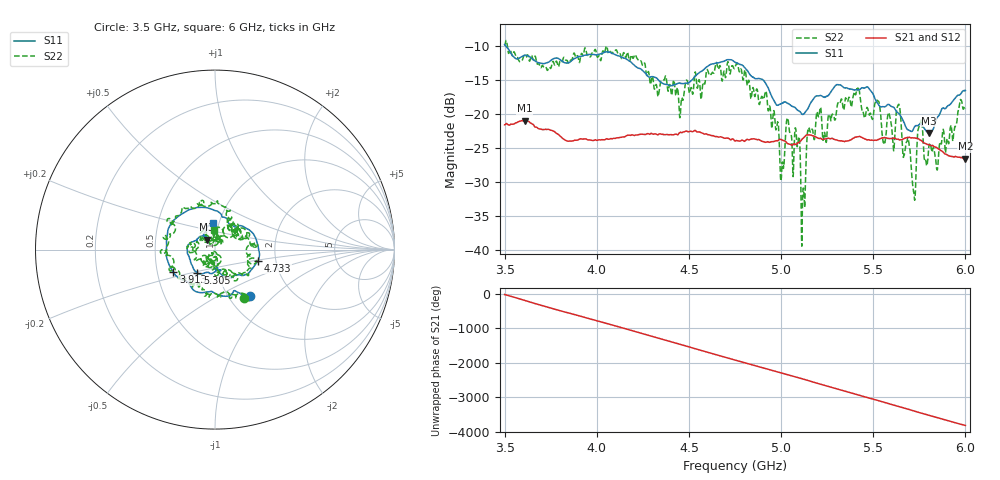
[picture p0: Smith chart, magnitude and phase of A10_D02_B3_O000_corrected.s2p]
! Created with skrf 1.9.0 (http://scikit-rf.org).
# Hz S RI R 50.0
!freq ReS11 ImS11 ReS21 ImS21 ReS12 ImS12 ReS22 ImS22
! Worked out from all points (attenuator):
!   1601 points, 3.5 GHz to 6 GHz, reference 50 ohm
!   highest |S21| = -21.01 dB at 3.609 GHz (marker M1); lowest = -26.6 dB at 6 GHz (marker M2)
!   lowest |S11| = -22.9 dB at 5.802 GHz (marker M3), VSWR 1.16, Z = 45.4 + j5.07 ohm
!   |S11| at or under -10 dB: 3.506 GHz to end of sweep
!   |S22| runs from -39.5 to -9.2 dB; largest |S21 - S12| = 0.00098
!   S11 on the Smith chart (normalised r, x): 3.5 GHz: 1.26, -0.72; 3.913 GHz: 0.61, -0.16; 4.733 GHz: 1.62, -0.21; 5.305 GHz: 0.80, -0.22; 6 GHz: 0.94, +0.28
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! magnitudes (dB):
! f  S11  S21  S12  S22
! 3.5 GHz  -9.8  -21.6  -21.6  -10.0
! 3.609 GHz  -11.4  -21.0  -21.0  -11.6
! 3.913 GHz  -11.6  -23.7  -23.7  -11.5
! 3.917 GHz  -11.5  -23.7  -23.7  -11.1
! 4.213 GHz  -13.1  -23.1  -23.1  -11.5
! 4.334 GHz  -15.0  -23.1  -23.0  -17.4
! 4.733 GHz  -12.1  -23.8  -23.7  -13.0
! 4.75 GHz  -12.4  -24.0  -23.9  -13.2
! 4.916 GHz  -15.5  -24.2  -24.2  -16.7
! 5.005 GHz  -18.4  -23.9  -23.9  -27.6
! 5.036 GHz  -18.5  -24.4  -24.3  -20.6
! 5.088 GHz  -19.4  -24.4  -24.4  -24.9
! 5.12 GHz  -20.1  -23.6  -23.5  -30.9
! 5.147 GHz  -19.2  -23.1  -23.1  -22.4
! 5.167 GHz  -18.1  -23.2  -23.1  -22.3
! 5.305 GHz  -15.7  -23.9  -23.8  -18.8
! 5.584 GHz  -18.6  -23.6  -23.6  -19.8
! 5.639 GHz  -20.0  -23.8  -23.8  -18.6
! 5.719 GHz  -22.2  -23.6  -23.5  -31.5
! 5.753 GHz  -21.5  -23.9  -23.8  -21.7
! 5.802 GHz  -22.9  -24.6  -24.5  -24.9
! 6 GHz  -16.6  -26.6  -26.6  -19.3
